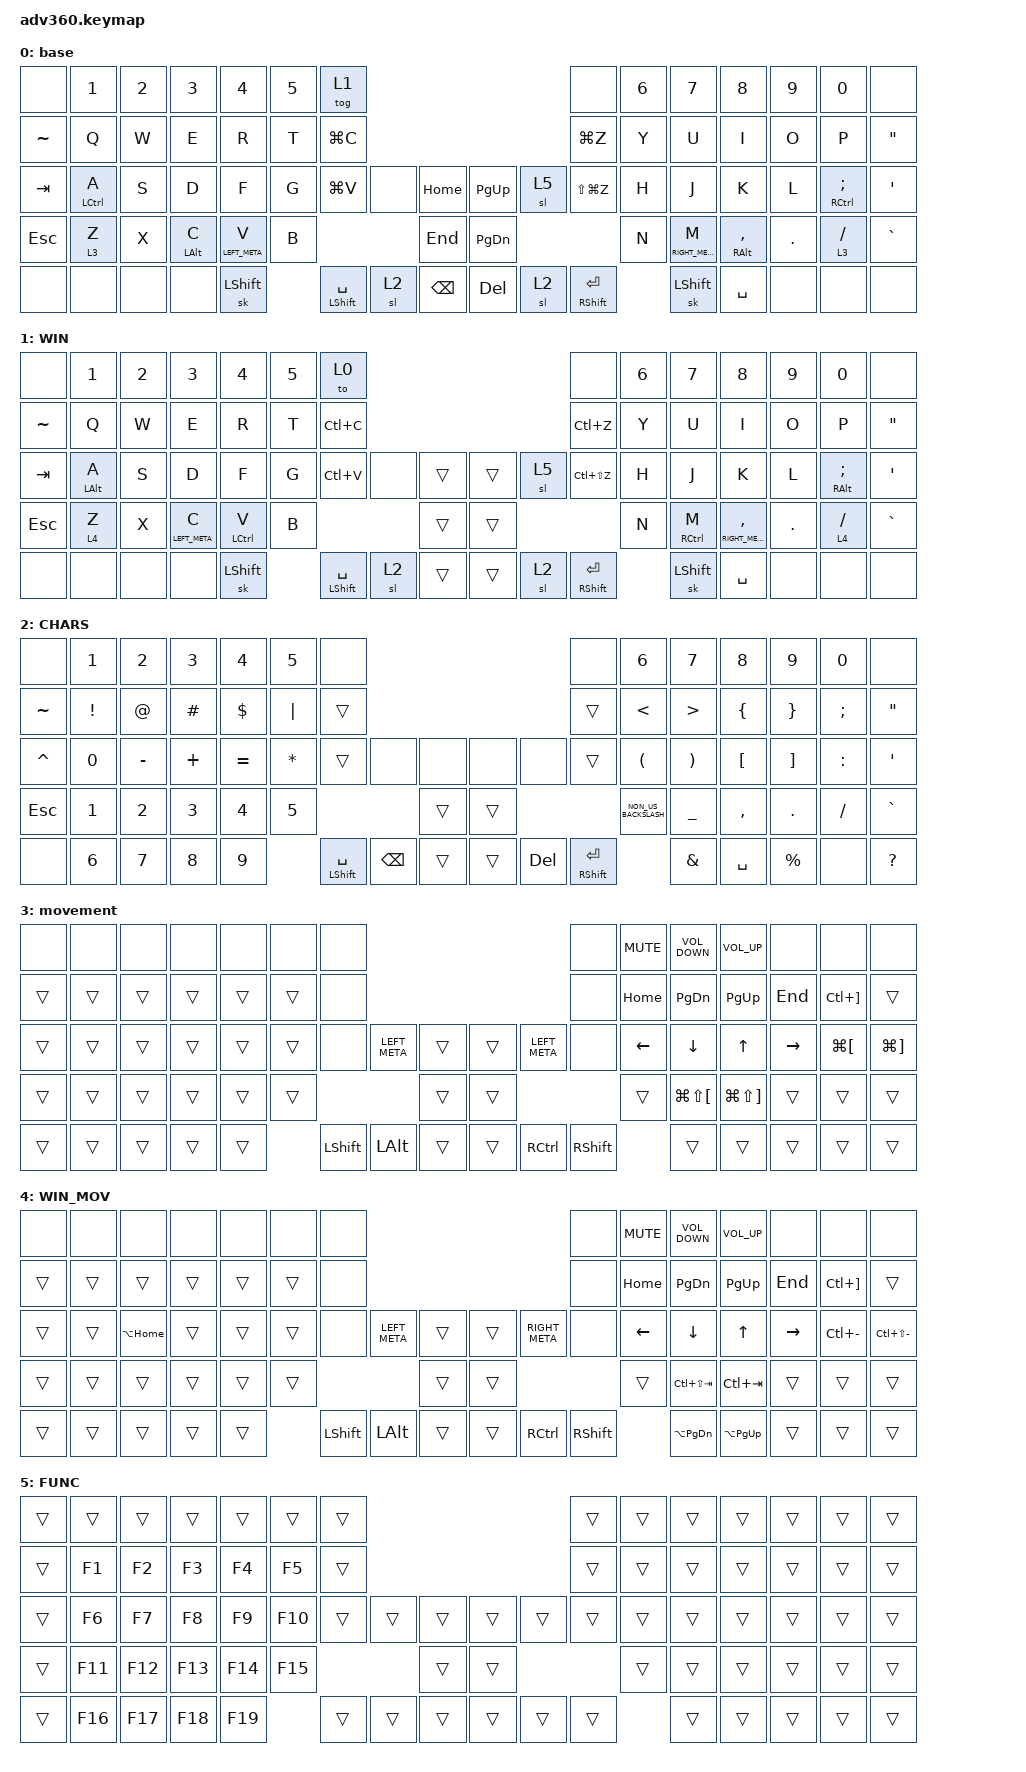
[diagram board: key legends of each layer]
#include <behaviors.dtsi>
#include <dt-bindings/zmk/keys.h>

/ {
    behaviors {
        #include "macros.dtsi"
      #include "version.dtsi"
      #ifndef VERSION_MACRO

        macro_ver: macro_ver {
            compatible = "zmk,behavior-macro";
            label = "macro_version";
            #binding-cells = <0>;
            bindings = <&kp RET>;
        };

        #endif

        hm: homerow_mods {
            compatible = "zmk,behavior-hold-tap";
            label = "HOMEROW_MODS";
            #binding-cells = <2>;
            tapping-term-ms = <230>;
            quick_tap_ms = <175>;
            flavor = "tap-preferred";
            bindings = <&kp>, <&kp>;
        };
    };

    macros {
    };

    keymap {
        compatible = "zmk,keymap";

        base {
            bindings = <
&none       &kp N1       &kp N2  &kp N3          &kp N4           &kp N5  &tog 1                                                                &none                  &kp N6  &kp N7            &kp N8               &kp N9   &kp N0                       &none
&kp TILDE   &kp Q        &kp W   &kp E           &kp R            &kp T   &kp LG(C)                                                             &kp LG(Z)              &kp Y   &kp U             &kp I                &kp O    &kp P                        &kp DOUBLE_QUOTES
&kp TAB     &hm LCTRL A  &kp S   &kp D           &kp F            &kp G   &kp LG(V)             &none  &kp HOME           &kp PAGE_UP    &sl 5  &kp LS(LG(Z))          &kp H   &kp J             &kp K                &kp L    &hm RIGHT_CONTROL SEMICOLON  &kp SQT
&kp ESCAPE  &lt 3 Z      &kp X   &hm LEFT_ALT C  &hm LEFT_META V  &kp B                                &kp END            &kp PAGE_DOWN                                &kp N   &hm RIGHT_META M  &hm RIGHT_ALT COMMA  &kp DOT  &lt 3 SLASH                  &kp GRAVE
&none       &none        &none   &none           &sk LEFT_SHIFT           &hm LEFT_SHIFT SPACE  &sl 2  &kp BACKSPACE      &kp DELETE     &sl 2  &hm RIGHT_SHIFT ENTER          &sk LEFT_SHIFT    &kp SPACE            &none    &none                        &none
            >;
        };

        WIN {
            bindings = <
&none       &kp N1          &kp N2  &kp N3           &kp N4              &kp N5  &to 0                                                   &none                  &kp N6  &kp N7               &kp N8                &kp N9   &kp N0                   &none
&kp TILDE   &kp Q           &kp W   &kp E            &kp R               &kp T   &kp LC(C)                                               &kp LC(Z)              &kp Y   &kp U                &kp I                 &kp O    &kp P                    &kp DOUBLE_QUOTES
&kp TAB     &hm LEFT_ALT A  &kp S   &kp D            &kp F               &kp G   &kp LC(V)             &none  &trans      &trans  &sl 5  &kp LC(LS(Z))          &kp H   &kp J                &kp K                 &kp L    &hm RIGHT_ALT SEMICOLON  &kp SQT
&kp ESCAPE  &lt 4 Z         &kp X   &hm LEFT_META C  &hm LEFT_CONTROL V  &kp B                                &trans      &trans                                &kp N   &hm RIGHT_CONTROL M  &hm RIGHT_META COMMA  &kp DOT  &lt 4 SLASH              &kp GRAVE
&none       &none           &none   &none            &sk LEFT_SHIFT              &hm LEFT_SHIFT SPACE  &sl 2  &trans      &trans  &sl 2  &hm RIGHT_SHIFT ENTER          &sk LEFT_SHIFT       &kp SPACE             &none    &none                    &none
            >;
        };

        CHARS {
            bindings = <
&none       &kp N1           &kp N2        &kp N3        &kp N4        &kp N5        &none                                                                &none                  &kp N6                &kp N7                 &kp N8            &kp N9             &kp N0         &none
&kp TILDE   &kp EXCLAMATION  &kp AT_SIGN   &kp HASH      &kp DOLLAR    &kp PIPE      &trans                                                               &trans                 &kp LESS_THAN         &kp GREATER_THAN       &kp LEFT_BRACE    &kp RIGHT_BRACE    &kp SEMICOLON  &kp DOUBLE_QUOTES
&kp CARET   &kp N0           &kp MINUS     &kp PLUS      &kp EQUAL     &kp ASTERISK  &trans                &none          &none       &none   &none       &trans                 &kp LEFT_PARENTHESIS  &kp RIGHT_PARENTHESIS  &kp LEFT_BRACKET  &kp RIGHT_BRACKET  &kp COLON      &kp SQT
&kp ESCAPE  &kp NUMBER_1     &kp NUMBER_2  &kp NUMBER_3  &kp NUMBER_4  &kp N5                                             &trans      &trans                                     &kp NON_US_BACKSLASH  &kp UNDERSCORE         &kp COMMA         &kp DOT            &kp FSLH       &kp GRAVE
&none       &kp NUMBER_6     &kp N7        &kp N8        &kp N9                      &hm LEFT_SHIFT SPACE  &kp BACKSPACE  &trans      &trans  &kp DELETE  &hm RIGHT_SHIFT ENTER                        &kp AMPERSAND          &kp SPACE         &kp PERCENT        &none          &kp QUESTION
            >;
        };

        movement {
            bindings = <
&none   &none   &none   &none   &none   &none   &none                                                                 &none            &kp C_MUTE      &kp C_VOLUME_DOWN         &kp C_VOLUME_UP            &none            &none                  &none
&trans  &trans  &trans  &trans  &trans  &trans  &none                                                                 &none            &kp HOME        &kp PAGE_DOWN             &kp PAGE_UP                &kp END          &kp LC(RIGHT_BRACKET)  &trans
&trans  &trans  &trans  &trans  &trans  &trans  &none           &kp LEFT_META  &trans      &trans  &kp LEFT_META      &none            &kp LEFT_ARROW  &kp DOWN_ARROW            &kp UP_ARROW               &kp RIGHT_ARROW  &kp LG(LEFT_BRACKET)   &kp LG(RIGHT_BRACKET)
&trans  &trans  &trans  &trans  &trans  &trans                                 &trans      &trans                                      &trans          &kp LG(LS(LEFT_BRACKET))  &kp LG(LS(RIGHT_BRACKET))  &trans           &trans                 &trans
&trans  &trans  &trans  &trans  &trans          &kp LEFT_SHIFT  &kp LEFT_ALT   &trans      &trans  &kp RIGHT_CONTROL  &kp RIGHT_SHIFT                  &trans                    &trans                     &trans           &trans                 &trans
            >;
        };

        WIN_MOV {
            bindings = <
&none   &none   &none         &none   &none   &none   &none                                                                 &none            &kp K_MUTE      &kp C_VOLUME_DOWN  &kp C_VOLUME_UP  &none            &none                  &none
&trans  &trans  &trans        &trans  &trans  &trans  &none                                                                 &none            &kp HOME        &kp PAGE_DOWN      &kp PAGE_UP      &kp END          &kp LC(RIGHT_BRACKET)  &trans
&trans  &trans  &kp LA(HOME)  &trans  &trans  &trans  &none           &kp LEFT_META  &trans      &trans  &kp RIGHT_META     &none            &kp LEFT_ARROW  &kp DOWN_ARROW     &kp UP_ARROW     &kp RIGHT_ARROW  &kp LC(MINUS)          &kp LC(LS(MINUS))
&trans  &trans  &trans        &trans  &trans  &trans                                 &trans      &trans                                      &trans          &kp LC(LS(TAB))    &kp LC(TAB)      &trans           &trans                 &trans
&trans  &trans  &trans        &trans  &trans          &kp LEFT_SHIFT  &kp LEFT_ALT   &trans      &trans  &kp RIGHT_CONTROL  &kp RIGHT_SHIFT                  &kp LA(PAGE_DOWN)  &kp LA(PAGE_UP)  &trans           &trans                 &trans
            >;
        };

        FUNC {
            bindings = <
&trans  &trans   &trans   &trans   &trans   &trans   &trans                                      &trans  &trans  &trans  &trans  &trans  &trans  &trans
&trans  &kp F1   &kp F2   &kp F3   &kp F4   &kp F5   &trans                                      &trans  &trans  &trans  &trans  &trans  &trans  &trans
&trans  &kp F6   &kp F7   &kp F8   &kp F9   &kp F10  &trans  &trans  &trans      &trans  &trans  &trans  &trans  &trans  &trans  &trans  &trans  &trans
&trans  &kp F11  &kp F12  &kp F13  &kp F14  &kp F15                  &trans      &trans                  &trans  &trans  &trans  &trans  &trans  &trans
&trans  &kp F16  &kp F17  &kp F18  &kp F19           &trans  &trans  &trans      &trans  &trans  &trans          &trans  &trans  &trans  &trans  &trans
            >;
        };
    };
};
